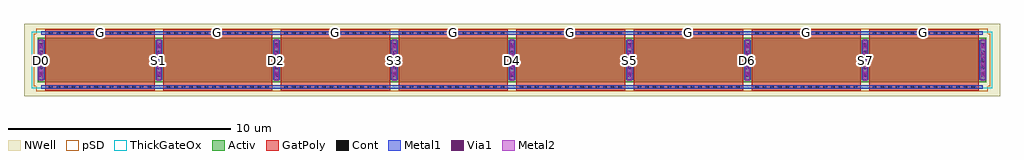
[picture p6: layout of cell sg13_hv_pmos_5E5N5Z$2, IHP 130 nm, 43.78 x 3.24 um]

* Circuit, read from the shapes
.subckt sg13_hv_pmos_5E5N5Z$2 D0 D2 D4 D6 G S1 S3 S5 S7
XM1 S1 G D0 n1 sg13_hv_pmos w=2u l=4.9u
XM2 D2 G S1 n1 sg13_hv_pmos w=2u l=4.9u
XM3 S3 G D2 n1 sg13_hv_pmos w=2u l=4.9u
XM4 D4 G S3 n1 sg13_hv_pmos w=2u l=4.9u
XM5 S5 G D4 n1 sg13_hv_pmos w=2u l=4.9u
XM6 D6 G S5 n1 sg13_hv_pmos w=2u l=4.9u
XM7 S7 G D6 n1 sg13_hv_pmos w=2u l=4.9u
XM8 n2 G S7 n1 sg13_hv_pmos w=2u l=4.9u
.ends

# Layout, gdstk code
import gdstk
lib = gdstk.Library(unit=1e-6, precision=1e-09)
def R(c, l, rs):  # rectangles x0, y0, x1, y1
    for r in rs: c.add(gdstk.rectangle(r[:2], r[2:], *l))
def A(c, l, x, y, w, h, nx, ny, dx, dy):  # array of equal rectangles
    R(c, l, [(x+i*dx, y+j*dy, x+i*dx+w, y+j*dy+h) for i in range(nx) for j in range(ny)])
Activ = (1, 0)
GatPoly = (5, 0)
Cont = (6, 0)
Metal1 = (8, 0)
Metal2 = (10, 0)
pSD = (14, 0)
Via1 = (19, 0)
NWell = (31, 0)
ThickGateOx = (44, 0)

sg13_hv_pmos_5e5n5z_2 = lib.new_cell('sg13_hv_pmos_5E5N5Z$2')
R(sg13_hv_pmos_5e5n5z_2, Activ, [(-21.27,-1,21.27,1)])
A(sg13_hv_pmos_5e5n5z_2, GatPoly, -20.93, -1.37, 4.9, 2.74, 8, 1, 5.28, 0)
A(sg13_hv_pmos_5e5n5z_2, Cont, -20.77, -1.3, 0.16, 0.16, 14, 2, 0.34, 2.44)
A(sg13_hv_pmos_5e5n5z_2, Cont, -15.49, -1.3, 0.16, 0.16, 14, 2, 0.34, 2.44)
A(sg13_hv_pmos_5e5n5z_2, Cont, -10.21, -1.3, 0.16, 0.16, 14, 2, 0.34, 2.44)
A(sg13_hv_pmos_5e5n5z_2, Cont, -4.93, -1.3, 0.16, 0.16, 14, 2, 0.34, 2.44)
A(sg13_hv_pmos_5e5n5z_2, Cont, 0.35, -1.3, 0.16, 0.16, 14, 2, 0.34, 2.44)
A(sg13_hv_pmos_5e5n5z_2, Cont, 5.63, -1.3, 0.16, 0.16, 14, 2, 0.34, 2.44)
A(sg13_hv_pmos_5e5n5z_2, Cont, 10.91, -1.3, 0.16, 0.16, 14, 2, 0.34, 2.44)
A(sg13_hv_pmos_5e5n5z_2, Cont, 16.19, -1.3, 0.16, 0.16, 14, 2, 0.34, 2.44)
A(sg13_hv_pmos_5e5n5z_2, Cont, -21.2, -0.76, 0.16, 0.16, 9, 5, 5.28, 0.34)
A(sg13_hv_pmos_5e5n5z_2, Metal1, -21.27, -0.885, 0.3, 1.77, 9, 1, 5.28, 0)
R(sg13_hv_pmos_5e5n5z_2, Metal1, [(-21.12,-1.3,21.12,-1.14), (-21.12,1.14,21.12,1.3)])
A(sg13_hv_pmos_5e5n5z_2, Metal2, -21.22, -0.925, 0.2, 1.85, 9, 1, 5.28, 0)
R(sg13_hv_pmos_5e5n5z_2, pSD, [(-21.33,-1.4,21.33,-1.18), (-21.45,-1.18,21.45,1.18), (-21.33,1.18,21.33,1.4)])
A(sg13_hv_pmos_5e5n5z_2, Via1, -21.215, -0.71, 0.19, 0.19, 9, 4, 5.28, 0.41)
R(sg13_hv_pmos_5e5n5z_2, NWell, [(-21.89,-1.62,21.89,1.62)])
R(sg13_hv_pmos_5e5n5z_2, ThickGateOx, [(-21.54,-1.27,21.54,1.27)])
sg13_hv_pmos_5e5n5z_2.add(gdstk.Label('D0', (-21.12,0), layer=8, texttype=25))
sg13_hv_pmos_5e5n5z_2.add(gdstk.Label('G', (18.48,1.22), layer=8, texttype=25))
sg13_hv_pmos_5e5n5z_2.add(gdstk.Label('G', (13.2,1.22), layer=8, texttype=25))
sg13_hv_pmos_5e5n5z_2.add(gdstk.Label('G', (7.92,1.22), layer=8, texttype=25))
sg13_hv_pmos_5e5n5z_2.add(gdstk.Label('G', (2.64,1.22), layer=8, texttype=25))
sg13_hv_pmos_5e5n5z_2.add(gdstk.Label('G', (-2.64,1.22), layer=8, texttype=25))
sg13_hv_pmos_5e5n5z_2.add(gdstk.Label('G', (-7.92,1.22), layer=8, texttype=25))
sg13_hv_pmos_5e5n5z_2.add(gdstk.Label('G', (-13.2,1.22), layer=8, texttype=25))
sg13_hv_pmos_5e5n5z_2.add(gdstk.Label('G', (-18.48,1.22), layer=8, texttype=25))
sg13_hv_pmos_5e5n5z_2.add(gdstk.Label('S1', (-15.84,0), layer=8, texttype=25))
sg13_hv_pmos_5e5n5z_2.add(gdstk.Label('D2', (-10.56,0), layer=8, texttype=25))
sg13_hv_pmos_5e5n5z_2.add(gdstk.Label('S3', (-5.28,0), layer=8, texttype=25))
sg13_hv_pmos_5e5n5z_2.add(gdstk.Label('D4', (0,0), layer=8, texttype=25))
sg13_hv_pmos_5e5n5z_2.add(gdstk.Label('S5', (5.28,0), layer=8, texttype=25))
sg13_hv_pmos_5e5n5z_2.add(gdstk.Label('D6', (10.56,0), layer=8, texttype=25))
sg13_hv_pmos_5e5n5z_2.add(gdstk.Label('S7', (15.84,0), layer=8, texttype=25))

lib.write_gds('sg13_hv_pmos_5E5N5Z_2.gds')
